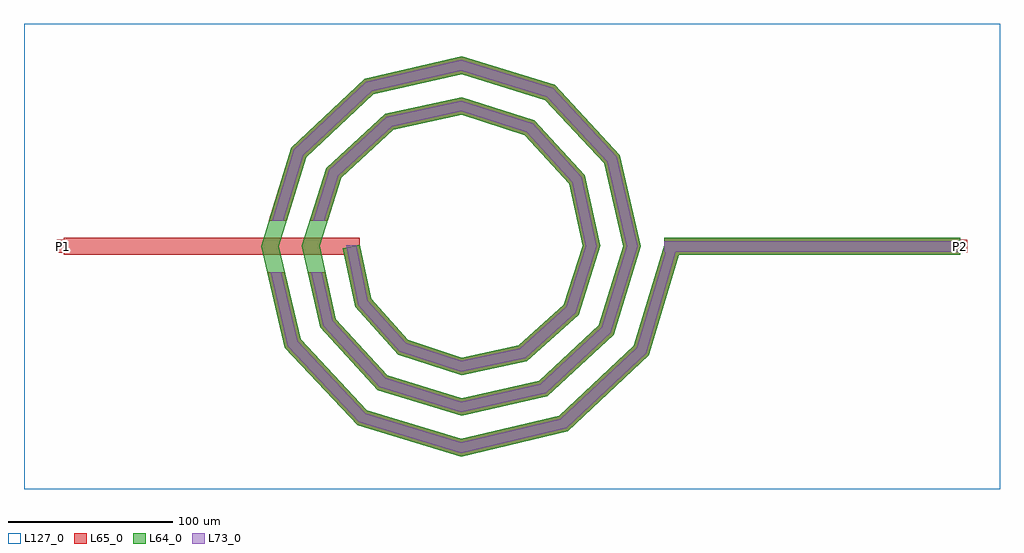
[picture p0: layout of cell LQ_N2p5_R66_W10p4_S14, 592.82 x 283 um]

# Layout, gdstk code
import gdstk
lib = gdstk.Library(unit=1e-6, precision=1e-09)
def R(c, l, rs):  # rectangles x0, y0, x1, y1
    for r in rs: c.add(gdstk.rectangle(r[:2], r[2:], *l))
def P(c, l, *ps):  # polygons
    for p in ps: c.add(gdstk.Polygon(p, *l))
L64_0 = (64, 0)
L65_0 = (65, 0)
L73_0 = (73, 0)
L127_0 = (127, 0)

lq_n2p5_r66_w10p4_s14 = lib.new_cell('LQ_N2p5_R66_W10p4_S14')
R(lq_n2p5_r66_w10p4_s14, L64_0, [(123.259,-5.2,303.259,5.2)])
P(lq_n2p5_r66_w10p4_s14, L64_0, [(-54.79,-31.979),(-32.495,-56.866),(0.283,-67.551),(35.042,-60.144),(62.197,-35.6),(73.72,0.261),(65.497,38.109),(38.702,67.53),(0.242,79.89),(-41.178,70.849),(-72.864,41.801),(-86.059,0.226),(-76.2,-44.249),(-44.899,-78.199),(0.212,-92.229),(47.322,-81.55),(83.536,-47.995),(98.398,0.199),(86.899,50.396),(51.09,88.873),(0.188,104.568),(-53.472,92.248),(-94.211,54.184),(-110.738,0.178),(-97.596,-56.549),(-57.277,-99.55),(0.169,-116.908),(59.626,-102.943),(104.889,-60.369),(123.479,1.496),(133.439,-1.496),(114.046,-66.033),(64.72,-112.43),(0.169,-127.67),(-62.955,-108.698),(-107.09,-61.627),(-121.5,0.178),(-103.35,59.878),(-58.533,101.752),(0.188,115.329),(56.802,98.001),(96.413,55.439),(109.159,0.199),(92.652,-53.727),(52.343,-91.076),(0.212,-102.988),(-50.653,-87.301),(-85.738,-49.246),(-96.818,0.226),(-81.95,47.581),(-46.147,80.402),(0.242,90.647),(44.51,76.597),(75.067,43.046),(84.476,0.261),(71.243,-41.442),(39.943,-69.734),(0.283,-78.305),(-38.376,-65.887),(-64.401,-36.836),(-71.849,-1.06),(-61.667,1.06)])
R(lq_n2p5_r66_w10p4_s14, L65_0, [(-241.558,-5.2,-61.558,5.2), (123.259,-5.2,303.259,5.2), (-245.558,-4,-237.558,4), (299.259,-4,307.259,4)])
P(lq_n2p5_r66_w10p4_s14, L65_0, [(-97.596,-56.549),(-57.277,-99.55),(0.169,-116.908),(59.626,-102.943),(104.889,-60.369),(123.479,1.497),(133.439,-1.497),(114.046,-66.033),(64.72,-112.43),(0.169,-127.67),(-62.955,-108.698),(-107.091,-61.627),(-117.821,-15.6),(-107.142,-15.6)],
  [(-76.2,-44.249),(-44.899,-78.2),(0.212,-92.229),(47.322,-81.55),(83.536,-47.995),(98.398,0.199),(86.899,50.397),(51.09,88.873),(0.188,104.568),(-53.472,92.248),(-94.211,54.184),(-105.941,15.6),(-116.811,15.6),(-103.35,59.878),(-58.533,101.752),(0.188,115.329),(56.802,98.001),(96.413,55.439),(109.159,0.199),(92.652,-53.727),(52.343,-91.076),(0.212,-102.989),(-50.653,-87.301),(-85.739,-49.246),(-93.274,-15.6),(-82.616,-15.6)],
  [(-32.495,-56.866),(0.283,-67.551),(35.042,-60.144),(62.197,-35.6),(73.72,0.261),(65.497,38.109),(38.702,67.53),(0.242,79.89),(-41.178,70.849),(-72.864,41.801),(-81.09,15.6),(-91.991,15.6),(-81.95,47.581),(-46.147,80.402),(0.242,90.647),(44.51,76.597),(75.067,43.046),(84.476,0.261),(71.243,-41.442),(39.943,-69.734),(0.283,-78.305),(-38.376,-65.887),(-64.401,-36.836),(-71.849,-1.06),(-61.667,1.06),(-54.79,-31.979)])
R(lq_n2p5_r66_w10p4_s14, L73_0, [(123.259,-3.2,303.259,3.2)])
P(lq_n2p5_r66_w10p4_s14, L73_0, [(-99.422,-57.525),(-58.369,-101.309),(0.104,-118.977),(60.606,-104.768),(106.65,-61.458),(125.394,0.921),(131.524,0.921),(112.285,-64.944),(63.74,-110.605),(0.104,-125.6),(-61.863,-106.939),(-105.265,-60.65),(-115.768,-15.6),(-109.196,-15.6)],
  [(-78.034,-45.21),(-46.006,-79.95),(0.13,-94.298),(48.288,-83.382),(85.289,-49.097),(100.468,0.123),(88.729,51.366),(52.189,90.629),(0.116,106.638),(-54.445,94.075),(-95.969,55.279),(-108.032,15.6),(-114.721,15.6),(-101.593,58.783),(-57.56,99.924),(0.116,113.26),(55.704,96.246),(94.584,54.469),(107.09,0.123),(90.899,-52.625),(51.378,-89.244),(0.13,-100.919),(-49.546,-85.551),(-83.904,-48.285),(-91.224,-15.6),(-84.666,-15.6)],
  [(-33.626,-58.601),(0.174,-69.619),(35.985,-61.988),(63.937,-36.723),(75.789,0.161),(67.338,39.058),(39.819,69.273),(0.149,81.958),(-42.134,72.686),(-74.611,42.913),(-83.187,15.6),(-89.895,15.6),(-80.203,46.469),(-45.192,78.565),(0.149,88.579),(43.393,74.854),(73.227,42.097),(82.408,0.161),(69.504,-40.318),(39,-67.889),(0.174,-76.237),(-37.245,-64.152),(-62.553,-35.902),(-69.891,0.652),(-63.625,0.652),(-56.638,-32.913)])
R(lq_n2p5_r66_w10p4_s14, L127_0, [(-265.558,-147.67,327.259,135.329)])
lq_n2p5_r66_w10p4_s14.add(gdstk.Label('P2', (303.259,0), layer=65, texttype=0))
lq_n2p5_r66_w10p4_s14.add(gdstk.Label('P1', (-241.558,0), layer=65, texttype=0))
lq_n2p5_r66_w10p4_s14.add(gdstk.Label('P2', (307.259,0), layer=145, texttype=0))
lq_n2p5_r66_w10p4_s14.add(gdstk.Label('P1', (-245.558,0), layer=145, texttype=0))

lib.write_gds('LQ_N2p5_R66_W10p4_S14.gds')
